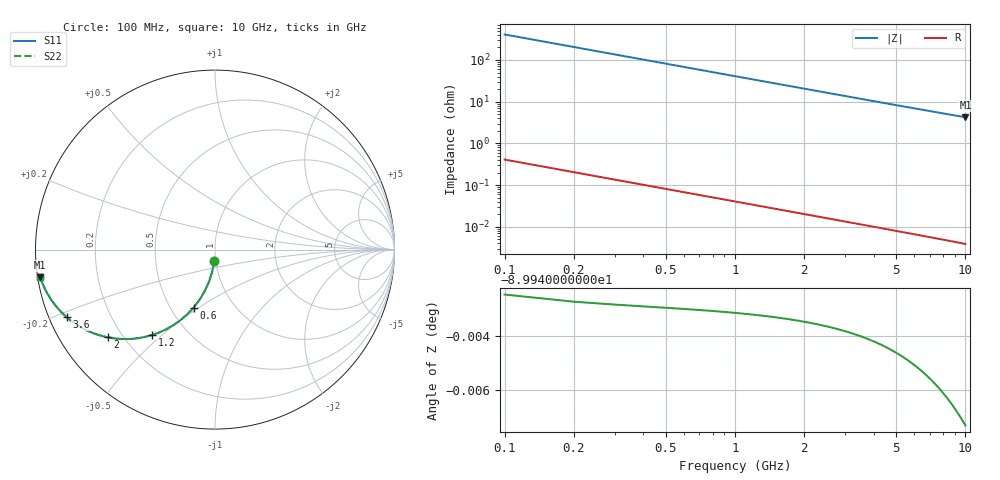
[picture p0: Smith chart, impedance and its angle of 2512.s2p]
# Hz S RI R 50.00
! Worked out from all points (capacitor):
!   100 points, 100 MHz to 10 GHz, reference 50 ohm
!   read as one part in shunt: C = 3.89 pF near 100 MHz
!   lowest |Z| = 4.24 ohm at 10 GHz (marker M1)
!   S11 on the Smith chart (normalised r, x): 100 MHz: 0.99, -0.12; 600 MHz: 0.65, -0.48; 1.2 GHz: 0.32, -0.46; 2 GHz: 0.14, -0.35; 3.6 GHz: 0.05, -0.22; 10 GHz: 0.01, -0.08
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1e8  -0.00377 -0.0608  0.9962 -0.061  0.9962 -0.061  -0.00377 -0.0608
2e8  -0.0148 -0.1203  0.9851 -0.1205  0.9851 -0.1205  -0.0148 -0.1203
3e8  -0.0327 -0.1772  0.9673 -0.1775  0.9673 -0.1775  -0.0327 -0.1772
4e8  -0.0566 -0.2304  0.9434 -0.2308  0.9434 -0.2308  -0.0566 -0.2304
5e8  -0.0856 -0.2791  0.9144 -0.2796  0.9144 -0.2796  -0.0856 -0.2791
6e8  -0.1187 -0.3227  0.8812 -0.3233  0.8812 -0.3233  -0.1187 -0.3227
7e8  -0.1549 -0.3609  0.8451 -0.3617  0.8451 -0.3617  -0.1549 -0.3609
9e8  -0.2323 -0.4213  0.7677 -0.4223  0.7677 -0.4223  -0.2323 -0.4213
1.2e9  -0.3494 -0.4757  0.6505 -0.4769  0.6505 -0.4769  -0.3494 -0.4757
1.5e9  -0.456 -0.4967  0.544 -0.4984  0.544 -0.4984  -0.456 -0.4967
1.8e9  -0.5466 -0.4963  0.4534 -0.4983  0.4534 -0.4983  -0.5466 -0.4963
2e9  -0.5979 -0.4887  0.4021 -0.4909  0.4021 -0.4909  -0.5979 -0.4887
2.3e9  -0.6626 -0.4711  0.3373 -0.4736  0.3373 -0.4736  -0.6626 -0.4711
2.6e9  -0.7149 -0.4496  0.2851 -0.4524  0.2851 -0.4524  -0.7149 -0.4496
3e9  -0.7692 -0.4192  0.2308 -0.4225  0.2308 -0.4225  -0.7692 -0.4192
3.4e9  -0.8104 -0.3896  0.1895 -0.3933  0.1895 -0.3933  -0.8104 -0.3896
3.6e9  -0.8273 -0.3755  0.1727 -0.3794  0.1727 -0.3794  -0.8273 -0.3755
4.3e9  -0.8722 -0.331  0.1278 -0.3357  0.1278 -0.3357  -0.8722 -0.331
5.1e9  -0.9055 -0.2892  0.0945 -0.2948  0.0945 -0.2948  -0.9055 -0.2892
6.7e9  -0.9429 -0.2277  0.057 -0.2352  0.057 -0.2352  -0.9429 -0.2277
8.4e9  -0.9629 -0.1836  0.037 -0.1931  0.037 -0.1931  -0.9629 -0.1836
1e10  -0.9736 -0.154  0.0263 -0.1653  0.0263 -0.1653  -0.9736 -0.154
